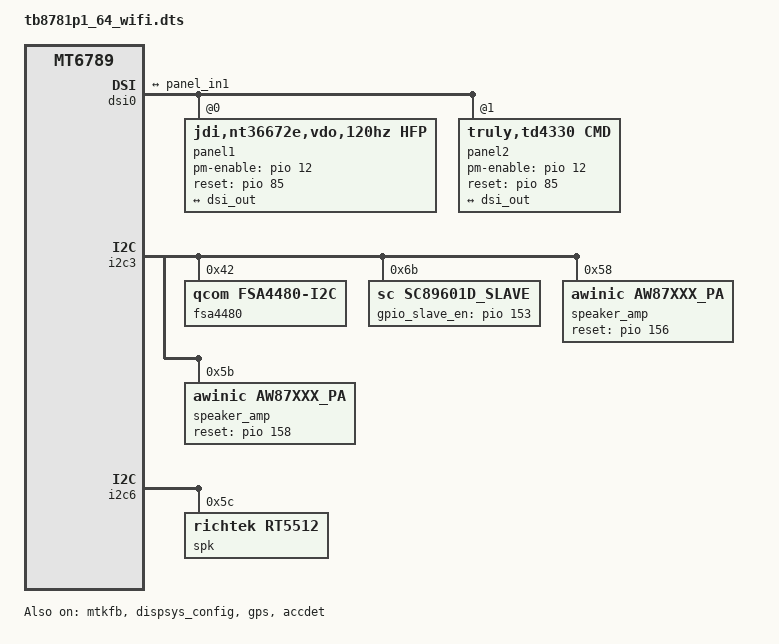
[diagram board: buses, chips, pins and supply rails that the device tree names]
// SPDX-License-Identifier: (GPL-2.0 OR MIT)
/*
 * Copyright (C) 2021 MediaTek Inc.
 */
/dts-v1/;
/plugin/;
#include <dt-bindings/interrupt-controller/arm-gic.h>
#include <dt-bindings/interrupt-controller/irq.h>
#include <dt-bindings/pinctrl/mt6789-pinfunc.h>
#include "mediatek/cust_mt6789_camera.dtsi"

&chosen {
};

&android {
	hardware = "mt8781";
};

&mtk_leds {
	compatible = "mediatek,i2c-leds";

	backlight {
		led_mode = <6>;
		gate_enable = <1>;
		pwm_config = <0 1 0 0 0>;
	};
};

&pio {
	mtkfb_pins_lcm_led_en1: lcm_led_en1_gpio {
		pins_cmd_dat {
			pinmux = <PINMUX_GPIO12__FUNC_GPIO12>;
			slew-rate = <1>;
			output-high;
		};
	};

	mtkfb_pins_lcm_led_en0: lcm_led_en0_gpio {
		pins_cmd_dat {
			pinmux = <PINMUX_GPIO12__FUNC_GPIO12>;
			slew-rate = <1>;
			output-low;
		};
	};

	mtkfb_pins_lcm_rst_out1_gpio: lcm_rst_out1_gpio {
		pins_cmd_dat {
			pinmux = <PINMUX_GPIO85__FUNC_GPIO85>;
			slew-rate = <1>;
			output-high;
		};
	};

	mtkfb_pins_lcm_rst_out0_gpio: lcm_rst_out0_gpio {
		pins_cmd_dat {
			pinmux = <PINMUX_GPIO85__FUNC_GPIO85>;
			slew-rate = <1>;
			output-low;
		};
	};
	mtkfb_pins_lcm_dsi_te: lcm_dsi_te {
		pins_cmd_dat {
			pinmux = <PINMUX_GPIO83__FUNC_DSI_TE>;
		};
	};
};

&mtkfb {
	pinctrl-names = "lcm_led_en1_gpio", "lcm_led_en0_gpio",
		"lcm_rst_out1_gpio", "lcm_rst_out0_gpio",
		"mode_te_te";
	pinctrl-0 = <&mtkfb_pins_lcm_led_en1>;
	pinctrl-1 = <&mtkfb_pins_lcm_led_en0>;
	pinctrl-2 = <&mtkfb_pins_lcm_rst_out1_gpio>;
	pinctrl-3 = <&mtkfb_pins_lcm_rst_out0_gpio>;
	pinctrl-4 = <&mtkfb_pins_lcm_dsi_te>;
	status = "okay";
};

&dispsys_config {
	pinctrl-names =
		"lcm_rst_out1_gpio", "lcm_rst_out0_gpio",
		"mode_te_te";
	pinctrl-0 = <&mtkfb_pins_lcm_rst_out1_gpio>;
	pinctrl-1 = <&mtkfb_pins_lcm_rst_out0_gpio>;
	pinctrl-2 = <&mtkfb_pins_lcm_dsi_te>;
	status = "okay";
};

&dsi0 {
	status = "okay";
	#address-cells = <1>;
	#size-cells = <0>;
	panel1@0 {
		compatible = "jdi,nt36672e,vdo,120hz,hfp";
		reg = <0>;
		pm-enable-gpios = <&pio 12 0>;
		reset-gpios = <&pio 85 0>;
		gate-ic = <4831>;
		pinctrl-names = "default";
		port {
			panel_in1: endpoint {
				remote-endpoint = <&dsi_out>;
			};
		};
	};
	panel2@0 {
		compatible = "truly,td4330,cmd";
		reg = <1>;
		pm-enable-gpios = <&pio 12 0>;
		reset-gpios = <&pio 85 0>;
		gate-ic = <4831>;
		pinctrl-names = "default";
		port {
			panel_in2: endpoint {
				remote-endpoint = <&dsi_out>;
			};
		};
	};
	ports {
		port {
			dsi_out: endpoint {
				remote-endpoint = <&panel_in1>;
			};
		};
	};
};

/* GPS GPIO standardization start */
&pio {
	gps_pins_default: gps_default {
	};
	gps_l1_lna_pins_ol: gps_l1_lna@0 {
		pins_cmd_dat {
			pinmux = <PINMUX_GPIO25__FUNC_GPIO25>;
			output-low;
		};
	};
	gps_l1_lna_pins_dsp_ctrl: gps_l1_lna@1 {
		pins_cmd_dat {
			pinmux = <PINMUX_GPIO25__FUNC_GPS_L1_ELNA_EN>;
		};
	};
	gps_l1_lna_pins_oh: gps_l1_lna@2 {
		pins_cmd_dat {
			pinmux = <PINMUX_GPIO25__FUNC_GPIO25>;
			output-high;
		};
	};
	gps_l5_lna_pins_ol: gps_l5_lna@0 {
		pins_cmd_dat {
			pinmux = <PINMUX_GPIO26__FUNC_GPIO26>;
			output-low;
		};
	};
	gps_l5_lna_pins_dsp_ctrl: gps_l5_lna@1 {
		pins_cmd_dat {
			pinmux = <PINMUX_GPIO26__FUNC_GPS_L5_ELNA_EN>;
		};
	};
	gps_l5_lna_pins_oh: gps_l5_lna@2 {
		pins_cmd_dat {
			pinmux = <PINMUX_GPIO26__FUNC_GPIO26>;
			output-high;
		};
	};
};
&gps {
	pinctrl-names = "default",
		"gps_l1_lna_disable",
		"gps_l1_lna_dsp_ctrl",
		"gps_l1_lna_enable",
		"gps_l5_lna_disable",
		"gps_l5_lna_dsp_ctrl",
		"gps_l5_lna_enable";
	pinctrl-0 = <&gps_pins_default>;
	pinctrl-1 = <&gps_l1_lna_pins_ol>;
	pinctrl-2 = <&gps_l1_lna_pins_dsp_ctrl>;
	pinctrl-3 = <&gps_l1_lna_pins_oh>;
	pinctrl-4 = <&gps_l5_lna_pins_ol>;
	pinctrl-5 = <&gps_l5_lna_pins_dsp_ctrl>;
	pinctrl-6 = <&gps_l5_lna_pins_oh>;
	status = "okay";
};
/* GPS GPIO standardization end */

#include "mediatek/cust_mt6789_touch_1080x2400.dtsi"
#include "mediatek/cust_mt6789_camera_v4l2.dtsi"


&i2c3 {
	/*
	was4780: was4780@42 {
		compatible = "willsemi,was4780-i2c";
		reg = <0x42>;
		status = "okay";
	};
	*/
	fsa4480: fsa4480@42 {
		compatible = "qcom,fsa4480-i2c";
		reg = <0x42>;
		status = "okay";
	};

        sc89601d_slave@6B {
                compatible = "sc,sc89601d_slave";
                reg = <0x6B>;
                status = "okay";
                sc,gpio_slave_en = <&pio 153 0>;
                charger_name = "secondary_chg";
                alias_name = "sc89601d_slave";
        };

	speaker_amp@58 {
		compatible = "awinic,aw87xxx_pa";
		reg = <0x58>;
		reset-gpio = <&pio 156 0>;
		dev_index = < 0 >;
		status = "okay";
	};

	speaker_amp@5b {
		compatible = "awinic,aw87xxx_pa";
		reg = <0x5b>;
		reset-gpio = <&pio 158 0>;
		dev_index = < 1 >;
		status = "okay";
	};
};
/*
&i2c7 {
	speaker_amp@58 {
		compatible = "awinic,aw87xxx_pa";
		reg = <0x58>;
		reset-gpio = <&pio 156 0>;
		dev_index = < 0 >;
		status = "okay";
	};

	speaker_amp@5b {
		compatible = "awinic,aw87xxx_pa";
		reg = <0x5b>;
		reset-gpio = <&pio 158 0>;
		dev_index = < 1 >;
		status = "okay";
	};
};
*/

&i2c6 {
	spk: speaker_amp@5c {
		compatible = "richtek,rt5512";
		#sound-dai-cells = <0>;
		reg = <0x5c>;
		status = "okay";
		sound-name-prefix = "Left";
	};
};

/* accdet start */
&accdet {
	accdet-mic-vol = <6>;
	headset-mode-setting = <0x500 0x500 1 0x1f0 0x800 0x800 0x20 0x44>;
	accdet-plugout-debounce = <1>;
	accdet-mic-mode = <1>;
	headset-eint-level-pol = <8>;
	headset-three-key-threshold = <0 80 220 400>;
	headset-three-key-threshold-CDD = <0 121 192 600>;
	headset-four-key-threshold = <0 58 121 192 400>;
	pinctrl-names = "default", "state_eint_as_int";
	pinctrl-0 = <&accdet_pins_default>;
	pinctrl-1 = <&accdet_pins_eint_as_int>;
	status = "okay";
};
&pio {
	accdet_pins_default: accdetdefault {
	};
	accdet_pins_eint_as_int: accdeteint@0 {
		pins_cmd_dat {
			pinmux = <PINMUX_GPIO10__FUNC_GPIO10>;
			slew-rate = <0>;
			bias-disable;
		};
	};
};
/* accdet end */

&sound {
	mediatek,spk-i2s = <3 0>;
	mediatek,speaker-codec {
		sound-dai = <&spk>;
	};
};

#include <tb8781p1_64_wifi/cust.dtsi>
/*End of this file, DO NOT ADD ANYTHING HERE*/
